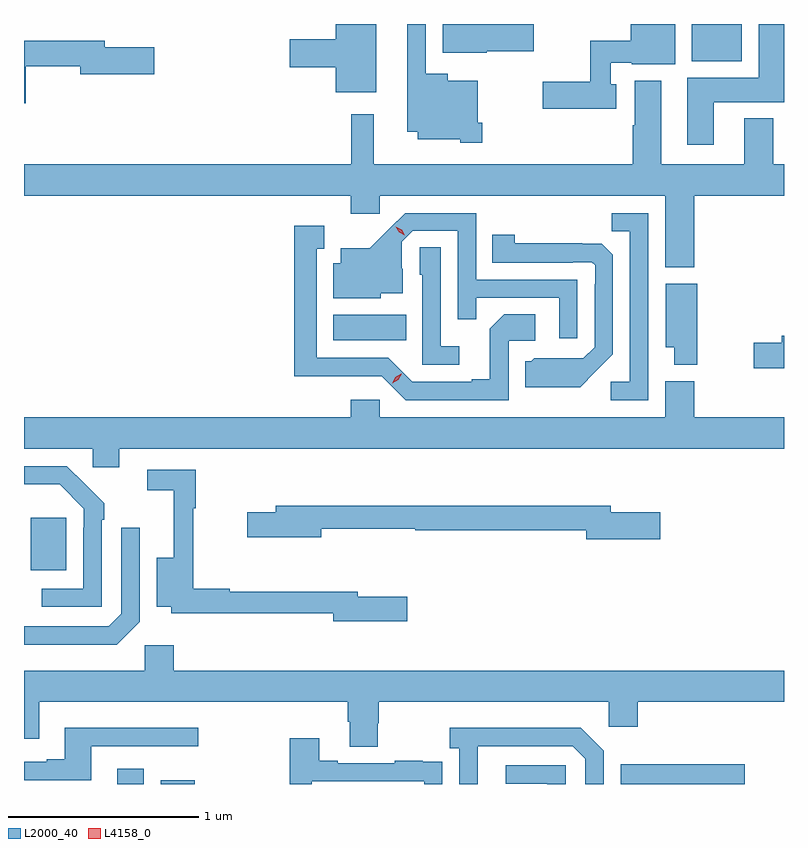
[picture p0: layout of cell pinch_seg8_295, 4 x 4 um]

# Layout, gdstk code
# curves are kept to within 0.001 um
import gdstk
lib = gdstk.Library(unit=1e-6, precision=1e-09)
def R(c, l, rs):  # rectangles x0, y0, x1, y1
    for r in rs: c.add(gdstk.rectangle(r[:2], r[2:], *l))
def P(c, l, *ps):  # polygons
    for p in ps: c.add(gdstk.Polygon(p, *l))
L2000_40 = (2000, 40)
L4158_0 = (4158, 0)

pinch_seg8_295 = lib.new_cell('pinch_seg8_295')
R(pinch_seg8_295, L2000_40, [(515.411,1140.043,515.551,1140.124), (515.639,1140.043,515.818,1140.064), (518.06,1140.043,518.713,1140.147), (514.955,1141.169,515.143,1141.444), (516.548,1142.378,516.932,1142.512), (518.435,1143.848,518.698,1144.043)])
P(pinch_seg8_295, L2000_40, [(518.038,1143.727),(518.007,1143.727),(518.007,1143.84),(518.118,1143.84),(518.118,1143.83),(518.347,1143.83),(518.347,1144.043),(518.114,1144.043),(518.114,1143.956),(517.899,1143.956),(517.899,1143.74),(517.65,1143.74),(517.65,1143.598),(518.038,1143.598)],
  [(518.551,1143.632),(518.92,1143.632),(518.92,1144.043),(518.786,1144.043),(518.786,1143.76),(518.411,1143.76),(518.411,1143.408),(518.551,1143.408)],
  [(517.331,1143.523),(517.309,1143.523),(517.309,1143.745),(517.15,1143.745),(517.15,1143.781),(517.035,1143.781),(517.035,1144.043),(516.938,1144.043),(516.938,1143.476),(516.992,1143.476),(516.992,1143.437),(517.215,1143.437),(517.215,1143.419),(517.331,1143.419)],
  [(516.775,1144.043),(516.56,1144.043),(516.56,1143.962),(516.318,1143.962),(516.318,1143.815),(516.56,1143.815),(516.56,1143.683),(516.775,1143.683)],
  [(517.356,1143.899),(517.603,1143.899),(517.603,1144.041),(517.373,1144.041),(517.373,1144.043),(517.124,1144.043),(517.124,1143.893),(517.356,1143.893)],
  [(514.928,1143.82),(515.216,1143.82),(515.216,1143.778),(515.605,1143.778),(515.605,1143.92),(515.344,1143.92),(515.344,1143.956),(514.92,1143.956),(514.92,1143.627),(514.928,1143.627)],
  [(518.447,1143.14),(518.92,1143.14),(518.92,1143.304),(518.864,1143.304),(518.864,1143.547),(518.711,1143.547),(518.711,1143.304),(518.275,1143.304),(518.275,1143.745),(518.135,1143.745),(518.135,1143.509),(518.123,1143.509),(518.123,1143.304),(516.762,1143.304),(516.762,1143.568),(516.643,1143.568),(516.643,1143.304),(514.92,1143.304),(514.92,1143.14),(516.641,1143.14),(516.641,1143.045),(516.792,1143.045),(516.792,1143.14),(518.294,1143.14),(518.294,1142.762),(518.447,1142.762)],
  [(517.833,1142.697),(517.299,1142.697),(517.299,1143.048),(516.926,1143.048),(516.739,1142.863),(516.587,1142.863),(516.587,1142.785),(516.548,1142.785),(516.548,1142.6),(516.798,1142.6),(516.798,1142.627),(516.913,1142.627),(516.913,1142.756),(516.909,1142.756),(516.909,1142.898),(516.966,1142.955),(517.203,1142.955),(517.203,1142.488),(517.301,1142.488),(517.301,1142.601),(517.737,1142.601),(517.737,1142.388),(517.833,1142.388)],
  [(518.205,1143.048),(518.014,1143.048),(518.014,1142.953),(518.109,1142.953),(518.109,1142.16),(518.007,1142.16),(518.007,1142.064),(518.205,1142.064)],
  [(517.47,1142.376),(517.612,1142.376),(517.612,1142.516),(517.447,1142.516),(517.371,1142.44),(517.371,1142.173),(517.277,1142.173),(517.277,1142.16),(516.963,1142.16),(516.837,1142.286),(516.46,1142.286),(516.46,1142.859),(516.499,1142.859),(516.499,1142.98),(516.342,1142.98),(516.342,1142.189),(516.804,1142.19),(516.93,1142.064),(517.47,1142.064)],
  [(517.927,1142.213),(518.019,1142.306),(518.019,1142.828),(517.96,1142.887),(517.503,1142.888),(517.503,1142.935),(517.384,1142.935),(517.384,1142.787),(517.808,1142.787),(517.808,1142.79),(517.908,1142.79),(517.926,1142.772),(517.926,1142.672),(517.923,1142.672),(517.923,1142.343),(517.863,1142.283),(517.606,1142.284),(517.59,1142.268),(517.559,1142.268),(517.559,1142.132),(517.847,1142.132)],
  [(517.21,1142.347),(517.113,1142.347),(517.113,1142.867),(517.002,1142.867),(517.002,1142.724),(517.017,1142.724),(517.017,1142.25),(517.21,1142.25)],
  [(518.464,1142.677),(518.297,1142.677),(518.297,1142.342),(518.342,1142.342),(518.342,1142.249),(518.464,1142.249)],
  [(518.92,1142.402),(518.909,1142.402),(518.909,1142.366),(518.76,1142.366),(518.76,1142.231),(518.92,1142.231)],
  [(515.422,1141.808),(518.92,1141.808),(518.92,1141.972),(518.447,1141.972),(518.447,1142.164),(518.294,1142.164),(518.294,1141.972),(516.792,1141.972),(516.792,1142.065),(516.641,1142.065),(516.641,1141.972),(514.92,1141.972),(514.92,1141.808),(515.283,1141.808),(515.283,1141.71),(515.422,1141.71)],
  [(515.328,1141.433),(515.343,1141.433),(515.343,1141.521),(515.146,1141.716),(514.92,1141.716),(514.92,1141.62),(515.107,1141.62),(515.235,1141.491),(515.235,1141.391),(515.232,1141.391),(515.232,1141.071),(515.013,1141.071),(515.013,1140.975),(515.328,1140.975)],
  [(516.937,1141.029),(516.676,1141.029),(516.676,1141.055),(516.002,1141.055),(516.002,1141.07),(515.81,1141.07),(515.81,1141.495),(515.825,1141.495),(515.825,1141.698),(515.568,1141.698),(515.568,1141.59),(515.708,1141.59),(515.708,1141.234),(515.618,1141.234),(515.618,1140.977),(515.694,1140.977),(515.694,1140.942),(516.548,1140.942),(516.548,1140.899),(516.937,1140.899)],
  [(518.269,1141.473),(518.008,1141.473),(518.008,1141.507),(516.245,1141.507),(516.245,1141.473),(516.096,1141.473),(516.096,1141.343),(516.484,1141.343),(516.484,1141.386),(516.98,1141.386),(516.98,1141.378),(517.88,1141.378),(517.88,1141.331),(518.269,1141.331)],
  [(515.529,1140.897),(515.529,1141.393),(515.433,1141.393),(515.433,1140.939),(515.367,1140.873),(514.92,1140.873),(514.92,1140.776),(515.408,1140.776)],
  [(516.783,1140.363),(516.788,1140.363),(516.788,1140.476),(517.998,1140.476),(517.998,1140.345),(518.15,1140.345),(518.15,1140.476),(518.92,1140.476),(518.92,1140.64),(515.708,1140.64),(515.708,1140.772),(515.556,1140.772),(515.556,1140.64),(514.92,1140.64),(514.92,1140.282),(514.999,1140.282),(514.999,1140.476),(516.623,1140.476),(516.623,1140.37),(516.635,1140.37),(516.635,1140.238),(516.783,1140.238)],
  [(515.275,1140.243),(515.836,1140.243),(515.836,1140.34),(515.135,1140.34),(515.135,1140.172),(515.039,1140.172),(515.039,1140.159),(514.92,1140.159),(514.92,1140.062),(515.275,1140.062)],
  [(517.309,1140.243),(517.809,1140.243),(517.875,1140.177),(517.875,1140.043),(517.971,1140.043),(517.971,1140.219),(517.85,1140.34),(517.161,1140.34),(517.161,1140.23),(517.212,1140.23),(517.212,1140.043),(517.309,1140.043)],
  [(516.435,1140.057),(517.026,1140.057),(517.026,1140.043),(517.122,1140.043),(517.122,1140.05),(517.121,1140.05),(517.121,1140.159),(517.019,1140.159),(517.019,1140.166),(516.871,1140.166),(516.871,1140.153),(516.571,1140.153),(516.571,1140.166),(516.475,1140.166),(516.475,1140.283),(516.319,1140.283),(516.319,1140.043),(516.435,1140.043)],
  [(517.77,1140.141),(517.455,1140.141),(517.455,1140.045),(517.674,1140.045),(517.674,1140.043),(517.77,1140.043)])
P(pinch_seg8_295, L4158_0, [(516.924,1142.93),(516.894,1142.946),(516.877,1142.975),(516.877,1142.976),(516.877,1142.976),(516.908,1142.96),(516.924,1142.93),(516.924,1142.93)],
  [(516.857,1142.151),(516.857,1142.152),(516.875,1142.184),(516.906,1142.203),(516.907,1142.203),(516.907,1142.202),(516.889,1142.17),(516.857,1142.151)])

lib.write_gds('pinch_seg8_295.gds')
